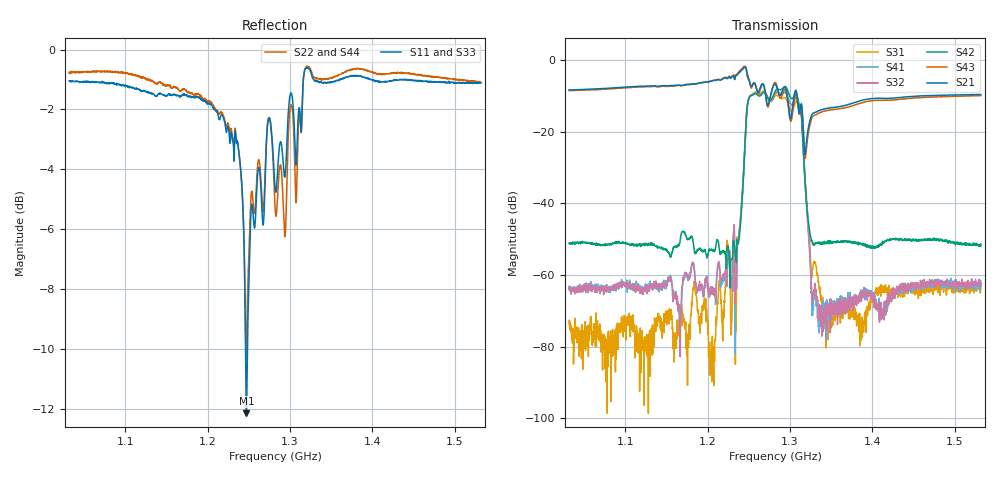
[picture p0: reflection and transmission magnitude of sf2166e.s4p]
# Hz S RI R 50
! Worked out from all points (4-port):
!   1601 points, 1.032 GHz to 1.532 GHz, reference 50 ohm
!   strongest paths, dB at 1.032 GHz, 1.157 GHz, 1.282 GHz, 1.407 GHz, 1.532 GHz:
!     S21: -8.3, -7.2, -6.7, -10.7, -9.6
!     S43: -8.5, -7.3, -6.3, -11.2, -9.9
!     S42: -51.1, -53.7, -8.8, -51.8, -51.8
!     S32: -64.1, -63.0, -9.5, -69.1, -62.2
!     S41: -63.8, -62.0, -9.3, -69.1, -62.9
!     S31: -73.8, -71.4, -10.1, -64.9, -63.2
!   lowest |S11| = -12.1 dB at 1.247 GHz (marker M1), VSWR 1.66, Z = 36.3 - j16.9 ohm
!   |S11| at or under -10 dB: 1.246007 GHz to 1.2483 GHz (2.293 MHz wide, 0.184 % of centre)
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1.0318e9  -0.1016 -0.8807  0.3774 -0.0544  3.89e-05 0.000224  0.000302 0.000602
          0.3796 -0.0548  -0.1126 -0.9063  0.000312 0.000621  0.00274 -0.000228
          6.12e-05 0.000194  0.000281 0.000561  -0.0668 -0.8841  0.3725 -0.0468
          0.000299 0.000569  0.00277 -0.000234  0.3718 -0.0472  -0.0935 -0.8871
1.207425e9  -0.3722 -0.7059  0.4431 -0.267  3.4e-05 6.05e-05  0.000265 0.000543
            0.4421 -0.268  -0.3661 -0.7147  0.000167 0.000513  0.00202 -0.000855
            2.77e-05 7.09e-06  0.00021 0.000527  -0.3414 -0.7126  0.4549 -0.2574
            0.000196 0.000538  0.00211 -0.000834  0.4549 -0.2577  -0.3592 -0.7088
1.23555e9  -0.4129 -0.5683  0.4548 -0.4067  0.0032 -0.00114  -0.00128 0.00203
           0.4549 -0.4067  -0.414 -0.5698  -0.00131 0.00172  0.00212 -0.00221
           0.00317 -0.00117  -0.00129 0.00185  -0.3856 -0.5678  0.475 -0.4089
           -0.00133 0.0021  0.00203 -0.00236  0.4748 -0.4089  -0.4139 -0.554
1.247112e9  -0.1153 -0.2185  0.1427 -0.7219  -0.1407 0.0957  0.1283 -0.1083
            0.1403 -0.7205  -0.1175 -0.2842  0.128 -0.107  -0.1133 0.1177
            -0.1403 0.0961  0.1277 -0.1074  0.0244 -0.2439  0.0558 -0.6933
            0.1289 -0.1088  -0.1133 0.1186  0.0548 -0.6951  -0.00907 -0.3056
1.309612e9  -0.00524 -0.7556  -0.0718 -0.2367  -0.2029 -0.1135  0.2179 0.1395
            -0.0719 -0.2363  0.0711 -0.7089  0.2107 0.1422  -0.2229 -0.1719
            -0.2028 -0.1133  0.2107 0.1419  0.0385 -0.7721  -0.0569 -0.2261
            0.2174 0.1396  -0.2222 -0.1717  -0.0568 -0.2259  0.0874 -0.7176
1.338675e9  -0.2419 -0.8464  0.1651 -0.1189  0.000221 0.000381  -4.06e-05 0.000198
            0.1656 -0.1195  -0.2343 -0.8587  -0.000148 0.000183  0.00268 -0.000654
            0.000181 0.000288  -5.99e-05 0.000127  -0.1685 -0.8721  0.1572 -0.1042
            -0.00011 0.00024  0.00261 -0.000578  0.1573 -0.1037  -0.1955 -0.8645
1.5318e9  -0.5174 -0.7116  0.2466 -0.2212  -0.000564 6.66e-05  -0.000261 0.000656
          0.2451 -0.221  -0.5242 -0.709  -0.00031 0.000561  0.00194 -0.00173
          -0.000681 0.000114  -0.000311 0.000708  -0.4427 -0.7652  0.252 -0.1955
          -0.000197 0.000693  0.00196 -0.00166  0.2523 -0.195  -0.4912 -0.7388
